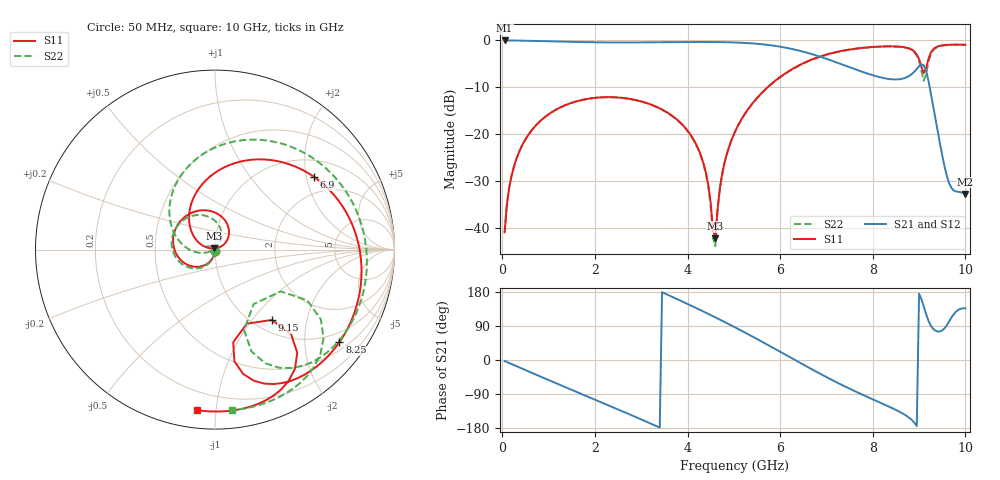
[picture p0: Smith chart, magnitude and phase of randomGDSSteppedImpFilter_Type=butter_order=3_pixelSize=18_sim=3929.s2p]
! freq	dB(S11)	phase(S11)	dB(S12)	phase(S12)
!  dB(S21)	phase(S21)	dB(S22)	phase(S22)
!S-par simulation data
#  GHz  S  DB  R 50
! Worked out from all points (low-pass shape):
!   200 points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, 50 MHz to 10 GHz, reference 50 ohm
!   highest |S21| = 0.00 dB at 50 MHz (marker M1); lowest = -32.7 dB at 10 GHz (marker M2)
!   |S21| within 3 dB of the highest: start of sweep to 6.716 GHz
!   lowest |S11| = -42.1 dB at 4.6 GHz (marker M3), VSWR 1.02, Z = 49.6 + j0.654 ohm
!   |S11| at or under -10 dB: start of sweep to 5.723 GHz
!   |S22| runs from -43.8 to -0.9 dB; largest |S21 - S12| = 0
!   S11 on the Smith chart (normalised r, x): 50 MHz: 1.00, -0.02; 6.9 GHz: 1.45, +2.22; 8.25 GHz: 0.70, -2.86; 9.15 GHz: 1.20, -1.26; 10 GHz: 0.09, -0.89
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0.05  -40.82 -92.5  -0.00 -2.7  -0.00 -2.7  -40.82 -92.2
0.2  -28.81 -101.3  -0.01 -10.7  -0.01 -10.7  -28.81 -100.2
0.5  -21.05 -118.3  -0.06 -26.7  -0.06 -26.7  -21.05 -115.5
1.75  -12.60 172.4  -0.35 -91.7  -0.35 -91.7  -12.61 -177.4
3.4  -14.44 80.2  -0.39 -178.4  -0.39 -178.4  -14.49 102.2
4.25  -23.49 32.6  -0.32 133.4  -0.32 133.4  -23.63 59.4
4.45  -30.88 27.7  -0.32 121.6  -0.32 121.6  -31.21 53.4
4.6  -42.06 123.2  -0.34 112.5  -0.34 112.5  -43.78 164.9
4.75  -28.31 166.2  -0.36 103.4  -0.36 103.4  -28.33 -159.6
5.05  -18.90 153.5  -0.44 84.6  -0.44 84.6  -18.95 -173.6
5.9  -8.52 100.2  -1.17 28.6  -1.17 28.6  -8.60 131.9
6.7  -3.99 48.7  -2.95 -25.6  -2.95 -25.6  -4.06 76.5
6.9  -3.29 36.3  -3.58 -38.7  -3.58 -38.7  -3.36 62.9
7.6  -1.78 -3.6  -6.06 -81.5  -6.06 -81.5  -1.82 18.4
8.25  -1.27 -36.7  -8.04 -117.5  -8.04 -117.5  -1.30 -18.9
8.35  -1.25 -41.6  -8.20 -123.1  -8.20 -123.1  -1.28 -24.5
8.9  -2.37 -73.6  -6.61 -165.7  -6.61 -165.7  -2.50 -61.4
9.05  -5.58 -78.9  -5.09 160.2  -5.09 160.2  -6.44 -70.1
9.15  -5.96 -51.1  -6.39 121.6  -6.39 121.6  -7.25 -32.5
9.3  -1.93 -56.2  -13.79 82.8  -13.79 82.8  -2.15 -39.2
9.65  -0.92 -80.1  -30.44 101.9  -30.44 101.9  -0.95 -66.3
10  -0.91 -96.5  -32.67 136.5  -32.67 136.5  -0.92 -84.0
